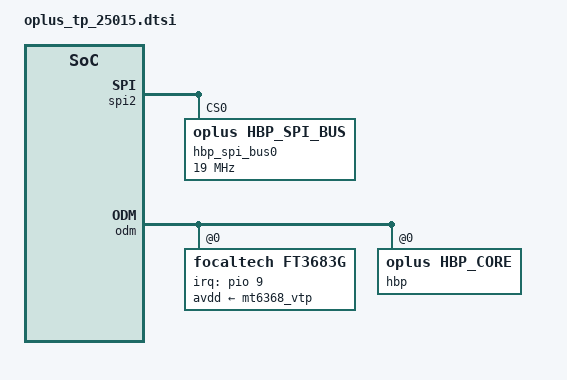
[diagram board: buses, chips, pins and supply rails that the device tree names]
&spi2 {
	status = "okay";
	#address-cells = <1>;
	#size-cells = <0>;

	mediatek,tickdly = <22>, <0>;

	/delete-node/ goodix@0;

	multi-touchscreen@0{
		status = "disabled";
	};

	hbp_spi_bus0:hbp_spi@0 {
		compatible = "oplus,hbp_spi_bus";
		reg = <0x0>;
		status = "okay";

		spi-max-frequency = <19000000>;
		bus,spi-mode = <0>;
		bus,rx-dummy = <0>;
		bus,tx-dummy = <0>;
	};
};

&odm {
	focaltech:focaltech@0 {
		compatible = "focaltech,ft3683g";
		status = "okay";

		device,id = <0>;
		device,chip_name = "ft3683g";
		device,resolution = <19456 42240>;

		/*interrupt config*/
		interrupt-parent = <&pio>;
		interrupts = <9 0x2002>;
		irq-gpio = <&pio 9 0x2002>;

		pinctrl-names = "default",
			"ts_reset_active",
			"ts_reset_idle",
			"ts_resume",
			"ts_suspend";
		pinctrl-0 = <&ts_int_active &ts_reset_active>;
		pinctrl-1 = <&ts_reset_active>;
		pinctrl-2 = <&ts_reset_idle>;
		pinctrl-3 = <&ctp_oplus_spi_active>;
		pinctrl-4 = <&ctp_oplus_spi_suspend>;

		/*cs active state, not used now*/
		spi,cs_active = <0>;

		/*power config*/
		power,avdd-supply = <&mt6368_vtp>;
		power,avdd_volt = <3300000 3300000>;
		/*
		power,vddi-supply = <&mt6369_vtp>;
		power,vddi_volt = <1800000 1800000>;
		*/

		/*bus config*/
		device,attached_bus = <&hbp_spi_bus0>;
		create_with_power_on_support;
	};

	hbp:hbp@0 {
		compatible = "oplus,hbp_core";
		hbp,project = "whoopass-C2";
		hbp,devices = <&focaltech>;
	};
};

&pio {
	ts_int_active: ts_int_active {
		pins_cmd_dat {
			pinmux = <PINMUX_GPIO9__FUNC_GPIO9>;
			bias-disable;
			input-enable;
		};
	};
	ts_reset_active: ts_reset_active {
		pins_cmd_dat {
			pinmux = <PINMUX_GPIO60__FUNC_GPIO60>;
			output-high;
		};
	};
	ts_reset_idle: ts_reset_idle {
		pins_cmd_dat {
			pinmux = <PINMUX_GPIO60__FUNC_GPIO60>;
			output-low;
		};
	};
	ctp_oplus_spi_active: spi_active {
		pins_cmd_dat {
			pinmux = <PINMUX_GPIO11__FUNC_SPI2_CLK>,
				<PINMUX_GPIO12__FUNC_SPI2_CSB>,
				<PINMUX_GPIO13__FUNC_SPI2_MI>,
				<PINMUX_GPIO14__FUNC_SPI2_MO>;
			bias-disable;
			drive-strength = <4>;
		};
	};
	ctp_oplus_spi_suspend: spi_suspend {
		pins_cmd_dat {
			pinmux = <PINMUX_GPIO11__FUNC_GPIO11>,
					<PINMUX_GPIO12__FUNC_GPIO12>,
					<PINMUX_GPIO13__FUNC_GPIO13>,
					<PINMUX_GPIO14__FUNC_GPIO14>;
			bias-disable;
			output-low;
			drive-strength = <2>;
		};
	};
};
